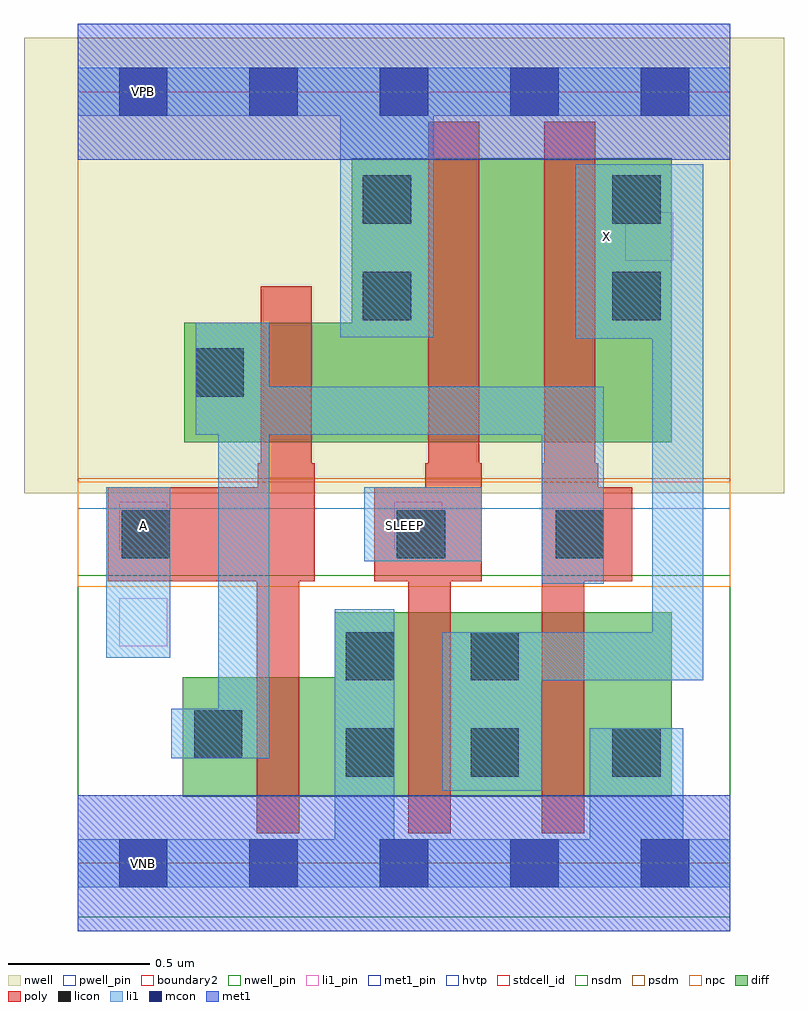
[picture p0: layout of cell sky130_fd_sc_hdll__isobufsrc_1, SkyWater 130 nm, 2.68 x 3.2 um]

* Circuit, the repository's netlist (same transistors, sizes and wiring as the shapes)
* Copyright 2020 The SkyWater PDK Authors
*
* Licensed under the Apache License, Version 2.0 (the "License");
* you may not use this file except in compliance with the License.
* You may obtain a copy of the License at
*
*     https://www.apache.org/licenses/LICENSE-2.0
*
* Unless required by applicable law or agreed to in writing, software
* distributed under the License is distributed on an "AS IS" BASIS,
* WITHOUT WARRANTIES OR CONDITIONS OF ANY KIND, either express or implied.
* See the License for the specific language governing permissions and
* limitations under the License.
*
* SPDX-License-Identifier: Apache-2.0

.SUBCKT sky130_fd_sc_hdll__isobufsrc_1 A SLEEP VGND VNB VPB VPWR X
*.PININFO A:I SLEEP:I VGND:I VNB:I VPB:I VPWR:I X:O
MMP0 VPWR SLEEP sndPA VPB sky130_fd_pr__pfet_01v8_hvt m=1 w=1.0U l=0.18U mult=1
+ sa=0.265 sb=0.265 sd=0.28 area=0.063 perim=1.14
MMP1 sndPA Ab X VPB sky130_fd_pr__pfet_01v8_hvt m=1 w=1.0U l=0.18U mult=1 sa=0.265
+ sb=0.265 sd=0.28 area=0.063 perim=1.14
MMIP1 Ab A VPWR VPB sky130_fd_pr__pfet_01v8_hvt m=1 w=0.42U l=0.18U mult=1 sa=0.265
+ sb=0.265 sd=0.28 area=0.063 perim=1.14
MMN0 X SLEEP VGND VNB sky130_fd_pr__nfet_01v8 m=1 w=0.65U l=0.15U mult=1 sa=0.265
+ sb=0.265 sd=0.28 area=0.063 perim=1.14
MMN1 X Ab VGND VNB sky130_fd_pr__nfet_01v8 m=1 w=0.65U l=0.15U mult=1 sa=0.265
+ sb=0.265 sd=0.28 area=0.063 perim=1.14
MMIN1 Ab A VGND VNB sky130_fd_pr__nfet_01v8 m=1 w=0.42U l=0.15U mult=1 sa=0.265
+ sb=0.265 sd=0.28 area=0.063 perim=1.14
.ENDS sky130_fd_sc_hdll__isobufsrc_1

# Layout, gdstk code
import gdstk
lib = gdstk.Library(unit=1e-6, precision=1e-09)
def R(c, l, rs):  # rectangles x0, y0, x1, y1
    for r in rs: c.add(gdstk.rectangle(r[:2], r[2:], *l))
def A(c, l, x, y, w, h, nx, ny, dx, dy):  # array of equal rectangles
    R(c, l, [(x+i*dx, y+j*dy, x+i*dx+w, y+j*dy+h) for i in range(nx) for j in range(ny)])
def P(c, l, *ps):  # polygons
    for p in ps: c.add(gdstk.Polygon(p, *l))
nwell_pin = (64, 16)
nwell = (64, 20)
diff = (65, 20)
poly = (66, 20)
licon = (66, 44)
li1_pin = (67, 16)
li1 = (67, 20)
mcon = (67, 44)
met1_pin = (68, 16)
met1 = (68, 20)
hvtp = (78, 44)
stdcell_id = (81, 4)
nsdm = (93, 44)
psdm = (94, 20)
npc = (95, 20)
pwell_pin = (122, 16)
boundary2 = (236, 0)

sky130_fd_sc_hdll__isobu = lib.new_cell('sky130_fd_sc_hdll__isobufsrc_1')
R(sky130_fd_sc_hdll__isobu, nwell_pin, [(0.145,2.635,0.315,2.805)])
R(sky130_fd_sc_hdll__isobu, nwell, [(-0.19,1.305,2.49,2.91)])
P(sky130_fd_sc_hdll__isobu, diff, [(2.095,0.885),(0.905,0.885),(0.905,0.655),(0.37,0.655),(0.37,0.235),(2.095,0.235)],
  [(2.095,2.485),(0.965,2.485),(0.965,1.905),(0.375,1.905),(0.375,1.485),(2.095,1.485)])
P(sky130_fd_sc_hdll__isobu, poly, [(0.835,1.41),(0.825,1.41),(0.825,2.035),(0.645,2.035),(0.645,1.41),(0.635,1.41),(0.635,1.325),(0.105,1.325),(0.105,0.995),(0.63,0.995),(0.63,0.105),(0.78,0.105),(0.78,0.995),(0.835,0.995)],
  [(1.425,1.41),(1.415,1.41),(1.415,2.615),(1.235,2.615),(1.235,1.41),(1.225,1.41),(1.225,1.325),(1.045,1.325),(1.045,0.995),(1.165,0.995),(1.165,0.105),(1.315,0.105),(1.315,0.995),(1.425,0.995)],
  [(1.955,1.325),(1.835,1.325),(1.835,1.41),(1.825,1.41),(1.825,2.615),(1.645,2.615),(1.645,1.41),(1.635,1.41),(1.635,0.105),(1.785,0.105),(1.785,0.995),(1.955,0.995)])
R(sky130_fd_sc_hdll__isobu, licon, [(0.945,0.305,1.115,0.475), (1.385,0.305,1.555,0.475), (1.885,0.305,2.055,0.475), (0.41,0.37,0.58,0.54), (0.945,0.645,1.115,0.815), (1.385,0.645,1.555,0.815), (0.155,1.075,0.325,1.245), (1.125,1.075,1.295,1.245), (1.685,1.075,1.855,1.245), (0.415,1.645,0.585,1.815), (1.005,1.915,1.175,2.085), (1.885,1.915,2.055,2.085), (1.005,2.255,1.175,2.425), (1.885,2.255,2.055,2.425)])
R(sky130_fd_sc_hdll__isobu, li1_pin, [(0.145,0.765,0.315,0.935), (0.145,1.105,0.315,1.275), (1.115,1.105,1.285,1.275), (1.93,2.125,2.1,2.295)])
R(sky130_fd_sc_hdll__isobu, li1, [(0.1,0.725,0.325,1.325), (1.01,1.065,1.425,1.325)])
P(sky130_fd_sc_hdll__isobu, li1, [(2.3,0.085),(2.135,0.085),(2.135,0.475),(1.805,0.475),(1.805,0.085),(1.115,0.085),(1.115,0.895),(0.905,0.895),(0.905,0.085),(0,0.085),(0,-0.085),(2.3,-0.085)],
  [(2.3,2.805),(0,2.805),(0,2.635),(0.925,2.635),(0.925,1.855),(1.255,1.855),(1.255,2.635),(2.3,2.635)],
  [(2.205,2.465),(1.755,2.465),(1.755,1.85),(2.025,1.85),(2.025,0.815),(1.285,0.815),(1.285,0.255),(1.635,0.255),(1.635,0.645),(2.205,0.645)],
  [(1.855,1.68),(0.675,1.68),(0.675,1.905),(0.415,1.905),(0.415,1.51),(0.495,1.51),(0.495,0.545),(0.33,0.545),(0.33,0.37),(0.675,0.37),(0.675,1.51),(1.635,1.51),(1.635,0.985),(1.855,0.985)])
A(sky130_fd_sc_hdll__isobu, mcon, 0.145, -0.085, 0.17, 0.17, 5, 2, 0.46, 2.72)
R(sky130_fd_sc_hdll__isobu, met1_pin, [(0.145,-0.085,0.315,0.085), (0.145,2.635,0.315,2.805)])
R(sky130_fd_sc_hdll__isobu, met1, [(0,-0.24,2.3,0.24), (0,2.48,2.3,2.96)])
R(sky130_fd_sc_hdll__isobu, hvtp, [(0,1.25,2.3,2.72)])
R(sky130_fd_sc_hdll__isobu, stdcell_id, [(0,0,2.3,2.72)])
R(sky130_fd_sc_hdll__isobu, nsdm, [(0,-0.19,2.3,1.015)])
R(sky130_fd_sc_hdll__isobu, psdm, [(0,1.355,2.3,2.91)])
R(sky130_fd_sc_hdll__isobu, npc, [(0,0.975,2.3,1.345)])
R(sky130_fd_sc_hdll__isobu, pwell_pin, [(0.145,-0.085,0.315,0.085)])
R(sky130_fd_sc_hdll__isobu, boundary2, [(0,0,2.3,2.72)])
sky130_fd_sc_hdll__isobu.add(gdstk.Label('A', (0.23,1.19), layer=67, texttype=5))
sky130_fd_sc_hdll__isobu.add(gdstk.Label('X', (1.865,2.21), layer=67, texttype=5))
sky130_fd_sc_hdll__isobu.add(gdstk.Label('SLEEP', (1.15,1.19), layer=67, texttype=5))
sky130_fd_sc_hdll__isobu.add(gdstk.Label('VPB', (0.23,2.72), layer=64, texttype=5))
sky130_fd_sc_hdll__isobu.add(gdstk.Label('VNB', (0.23,0), layer=64, texttype=59))
sky130_fd_sc_hdll__isobu.add(gdstk.Label('VGND', (0.23,0), layer=68, texttype=5))
sky130_fd_sc_hdll__isobu.add(gdstk.Label('VPWR', (0.23,2.72), layer=68, texttype=5))
sky130_fd_sc_hdll__isobu.add(gdstk.Label('sky130_fd_sc_hdll__lpflow_isobufsrc_1', (0,0), layer=83, texttype=44))

lib.write_gds('sky130_fd_sc_hdll__isobufsrc_1.gds')
